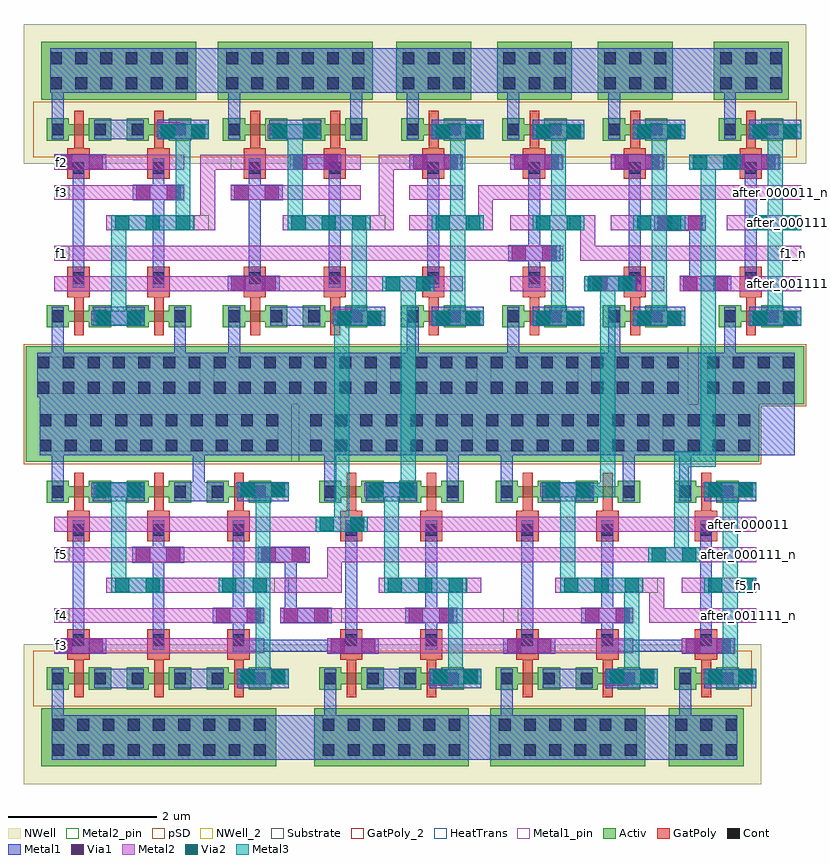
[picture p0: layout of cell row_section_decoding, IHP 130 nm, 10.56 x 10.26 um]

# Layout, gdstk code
from math import pi, radians
import gdstk
lib = gdstk.Library(unit=1e-6, precision=1e-09)
def R(c, l, rs):  # rectangles x0, y0, x1, y1
    for r in rs: c.add(gdstk.rectangle(r[:2], r[2:], *l))
def A(c, l, x, y, w, h, nx, ny, dx, dy):  # array of equal rectangles
    R(c, l, [(x+i*dx, y+j*dy, x+i*dx+w, y+j*dy+h) for i in range(nx) for j in range(ny)])
Activ = (1, 0)
GatPoly = (5, 0)
GatPoly_2 = (5, 2)
Cont = (6, 0)
Metal1 = (8, 0)
Metal1_pin = (8, 2)
Metal2 = (10, 0)
Metal2_pin = (10, 2)
pSD = (14, 0)
Via1 = (19, 0)
Via2 = (29, 0)
Metal3 = (30, 0)
NWell = (31, 0)
NWell_2 = (31, 2)
Substrate = (40, 0)
HeatTrans = (51, 0)

via_13 = lib.new_cell('Via$13')
R(via_13, Metal1, [(-0.35,-0.105,0.35,0.105)])
R(via_13, Metal2, [(-0.35,-0.1,0.35,0.1)])
R(via_13, Via1, [(-0.3,-0.095,-0.11,0.095), (0.11,-0.095,0.3,0.095)])

via_4_1 = lib.new_cell('Via$4$1')
R(via_4_1, Metal2, [(-0.1,-0.35,0.1,0.35)])
R(via_4_1, Via2, [(-0.095,-0.3,0.095,-0.11), (-0.095,0.11,0.095,0.3)])
R(via_4_1, Metal3, [(-0.1,-0.35,0.1,0.35)])

via_2_1 = lib.new_cell('Via$2$1')
R(via_2_1, Metal1, [(-0.105,-0.35,0.105,0.35)])
R(via_2_1, Metal2, [(-0.1,-0.35,0.1,0.35)])
R(via_2_1, Via1, [(-0.095,-0.3,0.095,-0.11), (-0.095,0.11,0.095,0.3)])

ntap1_1 = lib.new_cell('ntap1$1')
R(ntap1_1, Activ, [(0,0,2.09,0.78)])
A(ntap1_1, Cont, 0.115, 0.14, 0.16, 0.16, 6, 2, 0.34, 0.34)
R(ntap1_1, Metal1, [(0.115,0.09,1.975,0.69)])
R(ntap1_1, Metal1_pin, [(0.115,0.09,1.975,0.69), (0.115,0.14,1.975,0.64)])
R(ntap1_1, NWell, [(-0.24,-0.24,2.33,1.02), (0,0,2.09,0.78)])
R(ntap1_1, NWell_2, [(0,0,2.09,0.78)])
ntap1_1.add(gdstk.Label('well', (1.045,0.01), layer=63, texttype=0))
ntap1_1.add(gdstk.Label('well', (1.045,0.01), layer=31, texttype=0))

ptap1_1 = lib.new_cell('ptap1$1')
R(ptap1_1, Activ, [(0,0,2.51,0.78)])
A(ptap1_1, Cont, 0.155, 0.14, 0.16, 0.16, 7, 2, 0.34, 0.34)
R(ptap1_1, Metal1, [(0.155,0.09,2.355,0.69), (0.155,0.14,2.355,0.64)])
R(ptap1_1, Metal1_pin, [(0.155,0.14,2.355,0.64)])
R(ptap1_1, pSD, [(-0.03,-0.03,2.54,0.81)])
R(ptap1_1, Substrate, [(0,0,2.51,0.78)])
ptap1_1.add(gdstk.Label('sub!', (1.255,0.01), layer=63, texttype=0))
ptap1_1.add(gdstk.Label('sub!', (1.255,0.01), layer=40, texttype=0))

nmos_1 = lib.new_cell('nmos$1')
R(nmos_1, Activ, [(0,0,0.3,0.3), (0.57,0,0.87,0.3), (0,0.075,0.87,0.225)])
R(nmos_1, GatPoly, [(0.37,-0.105,0.5,0.405)])
R(nmos_1, GatPoly_2, [(0.37,-0.105,0.5,0.405)])
R(nmos_1, Cont, [(0.07,0.07,0.23,0.23), (0.64,0.07,0.8,0.23)])
R(nmos_1, Metal1, [(0.07,0.02,0.23,0.28), (0.64,0.02,0.8,0.28)])
R(nmos_1, Metal1_pin, [(0.07,0.02,0.23,0.28), (0.64,0.02,0.8,0.28)])
R(nmos_1, HeatTrans, [(0.37,-0.105,0.5,0.405)])
nmos_1.add(gdstk.Label('nmos', (0.435,0.15), layer=63, texttype=0))
nmos_1.add(gdstk.Label('nmos', (0.435,0.15), layer=51, texttype=0))

pmos_1 = lib.new_cell('pmos$1')
R(pmos_1, Activ, [(0,0,0.3,0.3), (0.57,0,0.87,0.3), (0,0.075,0.87,0.225)])
R(pmos_1, GatPoly, [(0.37,-0.105,0.5,0.405), (0.37,-0.105,0.5,0.405)])
R(pmos_1, Cont, [(0.07,0.07,0.23,0.23), (0.64,0.07,0.8,0.23)])
R(pmos_1, Metal1, [(0.07,0.02,0.23,0.28), (0.07,0.02,0.23,0.28), (0.64,0.02,0.8,0.28), (0.64,0.02,0.8,0.28)])
R(pmos_1, pSD, [(-0.18,-0.225,1.05,0.525)])
R(pmos_1, NWell, [(-0.31,-0.31,1.18,0.61)])
R(pmos_1, Substrate, [(0.57,0,0.87,0.3)])
R(pmos_1, HeatTrans, [(0.37,-0.105,0.5,0.405)])
pmos_1.add(gdstk.Label('pmos', (0.435,0.15), layer=63, texttype=0))
pmos_1.add(gdstk.Label('pmos', (0.435,0.15), layer=51, texttype=0))

via_8 = lib.new_cell('Via$8')
R(via_8, GatPoly, [(-0.15,-0.15,0.15,0.15)])
R(via_8, Cont, [(-0.08,-0.08,0.08,0.08)])
R(via_8, Metal1, [(-0.13,-0.08,0.13,0.08)])

via_7_1 = lib.new_cell('Via$7$1')
R(via_7_1, Metal2, [(-0.555,-0.1,0.555,0.1)])
A(via_7_1, Via2, -0.505, -0.095, 0.19, 0.19, 3, 1, 0.41, 0)
R(via_7_1, Metal3, [(-0.555,-0.1,0.555,0.1)])

via_6_1 = lib.new_cell('Via$6$1')
R(via_6_1, Metal1, [(-0.35,-0.105,0.35,0.105)])
R(via_6_1, Metal2, [(-0.35,-0.1,0.35,0.1)])
R(via_6_1, Via1, [(-0.3,-0.095,-0.11,0.095), (0.11,-0.095,0.3,0.095)])

nor_2in = lib.new_cell('NOR_2in')
R(nor_2in, GatPoly, [(9.375,7.165,9.675,7.275), (10.455,7.165,10.755,7.275), (9.375,9.065,9.675,9.175), (10.455,9.065,10.755,9.175)])
R(nor_2in, Metal1, [(9.72,6.78,10.42,7.04), (9.735,6.78,10.405,7.04), (9.735,9.3,10.405,9.56), (10.585,9.3,11.285,9.56)])
R(nor_2in, Metal1_pin, [(9.16,6.015,9.36,6.215), (9.325,10.12,9.525,10.32)])
R(nor_2in, Metal2_pin, [(11.085,8.07,11.285,8.27), (9.2,8.48,9.4,8.68), (9.2,8.89,9.4,9.09)])
nor_2in.add(gdstk.FlexPath([(10.895,6.91),(10.895,6.415)], 0.16, ends="flush", simple_path=True, layer=8, datatype=0))  # Metal1
nor_2in.add(gdstk.FlexPath([(9.245,9.56),(9.245,10.525)], 0.16, ends="flush", simple_path=True, layer=8, datatype=0))  # Metal1
nor_2in.add(gdstk.FlexPath([(9.245,6.78),(9.245,6.415)], 0.16, ends="flush", simple_path=True, layer=8, datatype=0))  # Metal1
nor_2in.add(gdstk.FlexPath([(9.525,7.555),(9.525,8.785)], 0.16, ends="flush", simple_path=True, layer=8, datatype=0))  # Metal1
nor_2in.add(gdstk.FlexPath([(10.605,7.555),(10.605,8.785)], 0.16, ends="flush", simple_path=True, layer=8, datatype=0))  # Metal1
nor_2in.add(gdstk.FlexPath([(9.9,8.17),(11.285,8.17)], 0.2, ends="flush", simple_path=True, layer=10, datatype=0))  # Metal2
nor_2in.add(gdstk.FlexPath([(9.865,6.885),(9.7,6.885)], 0.2, ends="flush", simple_path=True, layer=10, datatype=0))  # Metal2
nor_2in.add(gdstk.FlexPath([(10.895,9.43),(10.565,9.43)], 0.2, ends="flush", simple_path=True, layer=10, datatype=0))  # Metal2
nor_2in.add(gdstk.FlexPath([(10.43,8.58),(10.43,8.58)], 0.2, ends="flush", simple_path=True, layer=10, datatype=0))  # Metal2
nor_2in.add(gdstk.FlexPath([(9.2,8.99),(10.955,8.99)], 0.2, ends="flush", simple_path=True, layer=10, datatype=0))  # Metal2
nor_2in.add(gdstk.FlexPath([(9.2,8.58),(10.955,8.58)], 0.2, ends="flush", simple_path=True, layer=10, datatype=0))  # Metal2
nor_2in.add(gdstk.FlexPath([(9.2,7.76),(10.955,7.76)], 0.2, ends="flush", simple_path=True, layer=10, datatype=0))  # Metal2
nor_2in.add(gdstk.FlexPath([(9.2,7.35),(10.955,7.35)], 0.2, ends="flush", simple_path=True, layer=10, datatype=0))  # Metal2
nor_2in.add(gdstk.FlexPath([(10.935,9.405),(10.935,8.075)], 0.2, ends="flush", simple_path=True, layer=30, datatype=0))  # Metal3
nor_2in.add(gdstk.FlexPath([(10.07,8.17),(10.07,6.935)], 0.2, ends="flush", simple_path=True, layer=30, datatype=0))  # Metal3
nor_2in.add(gdstk.Reference(via_4_1, (10.935,9.405), rotation=3*pi/2))
nor_2in.add(gdstk.Reference(via_2_1, (10.935,9.405), rotation=3*pi/2))
nor_2in.add(gdstk.Reference(ntap1_1, (9.025,9.835)))
nor_2in.add(gdstk.Reference(ptap1_1, (8.815,5.725)))
nor_2in.add(gdstk.Reference(nmos_1, (10.175,6.76)))
nor_2in.add(gdstk.Reference(pmos_1, (10.175,9.28)))
nor_2in.add(gdstk.Reference(nmos_1, (9.095,6.76)))
nor_2in.add(gdstk.Reference(pmos_1, (9.095,9.28)))
nor_2in.add(gdstk.Reference(via_8, (9.525,8.915), rotation=pi/2))
nor_2in.add(gdstk.Reference(via_8, (10.605,8.915), rotation=pi/2))
nor_2in.add(gdstk.Reference(via_8, (10.605,7.425), rotation=3*pi/2))
nor_2in.add(gdstk.Reference(via_8, (9.525,7.425), rotation=3*pi/2))
nor_2in.add(gdstk.Reference(via_2_1, (10.605,8.58), rotation=3*pi/2))
nor_2in.add(gdstk.Reference(via_7_1, (10.525,8.17)))
nor_2in.add(gdstk.Reference(via_2_1, (10.07,6.885), rotation=3*pi/2))
nor_2in.add(gdstk.Reference(via_4_1, (10.07,6.885), rotation=3*pi/2))
nor_2in.add(gdstk.Reference(via_6_1, (9.55,8.99)))
nor_2in.add(gdstk.Label('y', (11.185,8.17), layer=10, texttype=25))
nor_2in.add(gdstk.Label('b', (9.315,8.575), layer=10, texttype=25))
nor_2in.add(gdstk.Label('a', (9.3,8.99), layer=10, texttype=25))
nor_2in.add(gdstk.Label('VP', (9.295,10.22), layer=8, texttype=25))
nor_2in.add(gdstk.Label('GND', (9.26,6.115), layer=8, texttype=25))

via_4_3 = lib.new_cell('Via$4$3')
R(via_4_3, Metal2, [(-0.1,-0.35,0.1,0.35)])
R(via_4_3, Via2, [(-0.095,-0.3,0.095,-0.11), (-0.095,0.11,0.095,0.3)])
R(via_4_3, Metal3, [(-0.1,-0.35,0.1,0.35)])

ntap1_3 = lib.new_cell('ntap1$3')
R(ntap1_3, Activ, [(0,0,1.01,0.78)])
A(ntap1_3, Cont, 0.085, 0.14, 0.16, 0.16, 3, 2, 0.34, 0.34)
R(ntap1_3, Metal1, [(0.085,0.09,0.925,0.69)])
R(ntap1_3, Metal1_pin, [(0.085,0.09,0.925,0.69), (0.085,0.14,0.925,0.64)])
R(ntap1_3, NWell, [(-0.24,-0.24,1.25,1.02), (0,0,1.01,0.78)])
R(ntap1_3, NWell_2, [(0,0,1.01,0.78)])
ntap1_3.add(gdstk.Label('well', (0.505,0.01), layer=63, texttype=0))
ntap1_3.add(gdstk.Label('well', (0.505,0.01), layer=31, texttype=0))

ptap1_3 = lib.new_cell('ptap1$3')
R(ptap1_3, Activ, [(0,0,1.43,0.78)])
A(ptap1_3, Cont, 0.125, 0.14, 0.16, 0.16, 4, 2, 0.34, 0.34)
R(ptap1_3, Metal1, [(0.125,0.09,1.305,0.69), (0.125,0.14,1.305,0.64)])
R(ptap1_3, Metal1_pin, [(0.125,0.14,1.305,0.64)])
R(ptap1_3, pSD, [(-0.03,-0.03,1.46,0.81)])
R(ptap1_3, Substrate, [(0,0,1.43,0.78)])
ptap1_3.add(gdstk.Label('sub!', (0.715,0.01), layer=63, texttype=0))
ptap1_3.add(gdstk.Label('sub!', (0.715,0.01), layer=40, texttype=0))

via_2_3 = lib.new_cell('Via$2$3')
R(via_2_3, Metal1, [(-0.105,-0.35,0.105,0.35)])
R(via_2_3, Metal2, [(-0.1,-0.35,0.1,0.35)])
R(via_2_3, Via1, [(-0.095,-0.3,0.095,-0.11), (-0.095,0.11,0.095,0.3)])

nmos_3 = lib.new_cell('nmos$3')
R(nmos_3, Activ, [(0,0,0.3,0.3), (0.57,0,0.87,0.3), (0,0.075,0.87,0.225)])
R(nmos_3, GatPoly, [(0.37,-0.105,0.5,0.405)])
R(nmos_3, GatPoly_2, [(0.37,-0.105,0.5,0.405)])
R(nmos_3, Cont, [(0.07,0.07,0.23,0.23), (0.64,0.07,0.8,0.23)])
R(nmos_3, Metal1, [(0.07,0.02,0.23,0.28), (0.64,0.02,0.8,0.28)])
R(nmos_3, Metal1_pin, [(0.07,0.02,0.23,0.28), (0.64,0.02,0.8,0.28)])
R(nmos_3, HeatTrans, [(0.37,-0.105,0.5,0.405)])
nmos_3.add(gdstk.Label('nmos', (0.435,0.15), layer=63, texttype=0))
nmos_3.add(gdstk.Label('nmos', (0.435,0.15), layer=51, texttype=0))

pmos_3 = lib.new_cell('pmos$3')
R(pmos_3, Activ, [(0,0,0.3,0.3), (0.57,0,0.87,0.3), (0,0.075,0.87,0.225)])
R(pmos_3, GatPoly, [(0.37,-0.105,0.5,0.405), (0.37,-0.105,0.5,0.405)])
R(pmos_3, Cont, [(0.07,0.07,0.23,0.23), (0.64,0.07,0.8,0.23)])
R(pmos_3, Metal1, [(0.07,0.02,0.23,0.28), (0.07,0.02,0.23,0.28), (0.64,0.02,0.8,0.28), (0.64,0.02,0.8,0.28)])
R(pmos_3, pSD, [(-0.18,-0.225,1.05,0.525)])
R(pmos_3, NWell, [(-0.31,-0.31,1.18,0.61)])
R(pmos_3, Substrate, [(0.57,0,0.87,0.3)])
R(pmos_3, HeatTrans, [(0.37,-0.105,0.5,0.405)])
pmos_3.add(gdstk.Label('pmos', (0.435,0.15), layer=63, texttype=0))
pmos_3.add(gdstk.Label('pmos', (0.435,0.15), layer=51, texttype=0))

via_10 = lib.new_cell('Via$10')
R(via_10, GatPoly, [(-0.15,-0.15,0.15,0.15)])
R(via_10, Cont, [(-0.08,-0.08,0.08,0.08)])
R(via_10, Metal1, [(-0.13,-0.08,0.13,0.08)])

via_7_2 = lib.new_cell('Via$7$2')
R(via_7_2, Metal2, [(-0.35,-0.1,0.35,0.1)])
R(via_7_2, Via2, [(-0.3,-0.095,-0.11,0.095), (0.11,-0.095,0.3,0.095)])
R(via_7_2, Metal3, [(-0.35,-0.1,0.35,0.1)])

inverter = lib.new_cell('inverter')
R(inverter, GatPoly, [(9.375,7.165,9.675,7.275), (9.375,9.065,9.675,9.175)])
R(inverter, Metal1, [(9.505,6.78,10.205,7.04), (9.505,9.3,10.205,9.56)])
R(inverter, Metal1_pin, [(9.16,6.015,9.36,6.215), (9.325,10.12,9.525,10.32)])
R(inverter, Metal2_pin, [(10.005,8.07,10.205,8.27), (9.2,8.89,9.4,9.09)])
inverter.add(gdstk.FlexPath([(9.245,9.56),(9.245,10.525)], 0.16, ends="flush", simple_path=True, layer=8, datatype=0))  # Metal1
inverter.add(gdstk.FlexPath([(9.245,6.78),(9.245,6.415)], 0.16, ends="flush", simple_path=True, layer=8, datatype=0))  # Metal1
inverter.add(gdstk.FlexPath([(9.525,7.555),(9.525,8.785)], 0.16, ends="flush", simple_path=True, layer=8, datatype=0))  # Metal1
inverter.add(gdstk.FlexPath([(9.65,9.405),(9.485,9.405)], 0.2, ends="flush", simple_path=True, layer=10, datatype=0))  # Metal2
inverter.add(gdstk.FlexPath([(9.65,6.885),(9.485,6.885)], 0.2, ends="flush", simple_path=True, layer=10, datatype=0))  # Metal2
inverter.add(gdstk.FlexPath([(9.2,8.99),(9.92,8.99)], 0.2, ends="flush", simple_path=True, layer=10, datatype=0))  # Metal2
inverter.add(gdstk.FlexPath([(9.2,8.58),(9.92,8.58)], 0.2, ends="flush", simple_path=True, layer=10, datatype=0))  # Metal2
inverter.add(gdstk.FlexPath([(9.2,7.76),(9.92,7.76)], 0.2, ends="flush", simple_path=True, layer=10, datatype=0))  # Metal2
inverter.add(gdstk.FlexPath([(9.2,7.35),(9.92,7.35)], 0.2, ends="flush", simple_path=True, layer=10, datatype=0))  # Metal2
inverter.add(gdstk.FlexPath([(9.2,8.17),(10.205,8.17)], 0.2, ends="flush", simple_path=True, layer=10, datatype=0))  # Metal2
inverter.add(gdstk.FlexPath([(9.855,6.885),(9.855,8.17)], 0.2, ends="flush", simple_path=True, layer=30, datatype=0))  # Metal3
inverter.add(gdstk.FlexPath([(9.855,9.405),(9.855,8.17)], 0.2, ends="flush", simple_path=True, layer=30, datatype=0))  # Metal3
inverter.add(gdstk.Reference(via_4_3, (9.855,6.885), rotation=3*pi/2))
inverter.add(gdstk.Reference(ntap1_3, (9.025,9.835)))
inverter.add(gdstk.Reference(ptap1_3, (8.815,5.725)))
inverter.add(gdstk.Reference(via_2_3, (9.855,6.885), rotation=3*pi/2))
inverter.add(gdstk.Reference(nmos_3, (9.095,6.76)))
inverter.add(gdstk.Reference(pmos_3, (9.095,9.28)))
inverter.add(gdstk.Reference(via_10, (9.525,8.915), rotation=pi/2))
inverter.add(gdstk.Reference(via_10, (9.525,7.425), rotation=3*pi/2))
inverter.add(gdstk.Reference(via_4_3, (9.855,9.405), rotation=3*pi/2))
inverter.add(gdstk.Reference(via_2_3, (9.555,8.99), rotation=3*pi/2))
inverter.add(gdstk.Reference(via_2_3, (9.855,9.405), rotation=3*pi/2))
inverter.add(gdstk.Reference(via_7_2, (9.855,8.17)))
inverter.add(gdstk.Label('out', (10.105,8.17), layer=10, texttype=25))
inverter.add(gdstk.Label('in', (9.3,8.99), layer=10, texttype=25))
inverter.add(gdstk.Label('VP', (9.295,10.22), layer=8, texttype=25))
inverter.add(gdstk.Label('GND', (9.26,6.115), layer=8, texttype=25))

via_11 = lib.new_cell('Via$11')
R(via_11, Metal2, [(-0.35,-0.1,0.35,0.1)])
R(via_11, Via2, [(-0.3,-0.095,-0.11,0.095), (0.11,-0.095,0.3,0.095)])
R(via_11, Metal3, [(-0.35,-0.1,0.35,0.1)])

via_14 = lib.new_cell('Via$14')
R(via_14, Metal1, [(-0.35,-0.105,0.35,0.105)])
R(via_14, Metal2, [(-0.35,-0.1,0.35,0.1)])
R(via_14, Via1, [(-0.3,-0.095,-0.11,0.095), (0.11,-0.095,0.3,0.095)])

via_4 = lib.new_cell('Via$4')
R(via_4, Metal2, [(-0.1,-0.35,0.1,0.35)])
R(via_4, Via2, [(-0.095,-0.3,0.095,-0.11), (-0.095,0.11,0.095,0.3)])
R(via_4, Metal3, [(-0.1,-0.35,0.1,0.35)])

via_2 = lib.new_cell('Via$2')
R(via_2, Metal1, [(-0.105,-0.35,0.105,0.35)])
R(via_2, Metal2, [(-0.1,-0.35,0.1,0.35)])
R(via_2, Via1, [(-0.095,-0.3,0.095,-0.11), (-0.095,0.11,0.095,0.3)])

ntap1 = lib.new_cell('ntap1')
R(ntap1, Activ, [(0,0,2.09,0.78)])
A(ntap1, Cont, 0.115, 0.14, 0.16, 0.16, 6, 2, 0.34, 0.34)
R(ntap1, Metal1, [(0.115,0.09,1.975,0.69)])
R(ntap1, Metal1_pin, [(0.115,0.09,1.975,0.69), (0.115,0.14,1.975,0.64)])
R(ntap1, NWell, [(-0.24,-0.24,2.33,1.02), (0,0,2.09,0.78)])
R(ntap1, NWell_2, [(0,0,2.09,0.78)])
ntap1.add(gdstk.Label('well', (1.045,0.01), layer=63, texttype=0))
ntap1.add(gdstk.Label('well', (1.045,0.01), layer=31, texttype=0))

ptap1 = lib.new_cell('ptap1')
R(ptap1, Activ, [(0,0,2.51,0.78)])
A(ptap1, Cont, 0.155, 0.14, 0.16, 0.16, 7, 2, 0.34, 0.34)
R(ptap1, Metal1, [(0.155,0.09,2.355,0.69), (0.155,0.14,2.355,0.64)])
R(ptap1, Metal1_pin, [(0.155,0.14,2.355,0.64)])
R(ptap1, pSD, [(-0.03,-0.03,2.54,0.81)])
R(ptap1, Substrate, [(0,0,2.51,0.78)])
ptap1.add(gdstk.Label('sub!', (1.255,0.01), layer=63, texttype=0))
ptap1.add(gdstk.Label('sub!', (1.255,0.01), layer=40, texttype=0))

nmos = lib.new_cell('nmos')
R(nmos, Activ, [(0,0,0.3,0.3), (0.57,0,0.87,0.3), (0,0.075,0.87,0.225)])
R(nmos, GatPoly, [(0.37,-0.105,0.5,0.405)])
R(nmos, GatPoly_2, [(0.37,-0.105,0.5,0.405)])
R(nmos, Cont, [(0.07,0.07,0.23,0.23), (0.64,0.07,0.8,0.23)])
R(nmos, Metal1, [(0.07,0.02,0.23,0.28), (0.64,0.02,0.8,0.28)])
R(nmos, Metal1_pin, [(0.07,0.02,0.23,0.28), (0.64,0.02,0.8,0.28)])
R(nmos, HeatTrans, [(0.37,-0.105,0.5,0.405)])
nmos.add(gdstk.Label('nmos', (0.435,0.15), layer=63, texttype=0))
nmos.add(gdstk.Label('nmos', (0.435,0.15), layer=51, texttype=0))

pmos = lib.new_cell('pmos')
R(pmos, Activ, [(0,0,0.3,0.3), (0.57,0,0.87,0.3), (0,0.075,0.87,0.225)])
R(pmos, GatPoly, [(0.37,-0.105,0.5,0.405), (0.37,-0.105,0.5,0.405)])
R(pmos, Cont, [(0.07,0.07,0.23,0.23), (0.64,0.07,0.8,0.23)])
R(pmos, Metal1, [(0.07,0.02,0.23,0.28), (0.07,0.02,0.23,0.28), (0.64,0.02,0.8,0.28), (0.64,0.02,0.8,0.28)])
R(pmos, pSD, [(-0.18,-0.225,1.05,0.525)])
R(pmos, NWell, [(-0.31,-0.31,1.18,0.61)])
R(pmos, Substrate, [(0.57,0,0.87,0.3)])
R(pmos, HeatTrans, [(0.37,-0.105,0.5,0.405)])
pmos.add(gdstk.Label('pmos', (0.435,0.15), layer=63, texttype=0))
pmos.add(gdstk.Label('pmos', (0.435,0.15), layer=51, texttype=0))

via = lib.new_cell('Via')
R(via, GatPoly, [(-0.15,-0.15,0.15,0.15)])
R(via, Cont, [(-0.08,-0.08,0.08,0.08)])
R(via, Metal1, [(-0.13,-0.08,0.13,0.08)])

via_7 = lib.new_cell('Via$7')
R(via_7, Metal2, [(-0.555,-0.1,0.555,0.1)])
A(via_7, Via2, -0.505, -0.095, 0.19, 0.19, 3, 1, 0.41, 0)
R(via_7, Metal3, [(-0.555,-0.1,0.555,0.1)])

via_6 = lib.new_cell('Via$6')
R(via_6, Metal1, [(-0.35,-0.105,0.35,0.105)])
R(via_6, Metal2, [(-0.35,-0.1,0.35,0.1)])
R(via_6, Via1, [(-0.3,-0.095,-0.11,0.095), (0.11,-0.095,0.3,0.095)])

nand_2in = lib.new_cell('NAND_2in')
R(nand_2in, GatPoly, [(9.375,7.165,9.675,7.275), (10.455,7.165,10.755,7.275), (9.375,9.065,9.675,9.175), (10.455,9.065,10.755,9.175)])
R(nand_2in, Metal1, [(9.735,6.78,10.405,7.04), (10.585,6.78,11.285,7.04), (9.72,9.3,10.42,9.56)])
R(nand_2in, Metal1_pin, [(9.16,6.015,9.36,6.215), (9.325,10.12,9.525,10.32)])
R(nand_2in, Metal2_pin, [(11.085,8.07,11.285,8.27), (9.2,8.48,9.4,8.68), (9.2,8.89,9.4,9.09)])
nand_2in.add(gdstk.FlexPath([(9.245,9.56),(9.245,10.525)], 0.16, ends="flush", simple_path=True, layer=8, datatype=0))  # Metal1
nand_2in.add(gdstk.FlexPath([(10.895,9.56),(10.895,10.525)], 0.16, ends="flush", simple_path=True, layer=8, datatype=0))  # Metal1
nand_2in.add(gdstk.FlexPath([(9.245,6.78),(9.245,6.415)], 0.16, ends="flush", simple_path=True, layer=8, datatype=0))  # Metal1
nand_2in.add(gdstk.FlexPath([(9.525,7.555),(9.525,8.785)], 0.16, ends="flush", simple_path=True, layer=8, datatype=0))  # Metal1
nand_2in.add(gdstk.FlexPath([(10.605,7.555),(10.605,8.785)], 0.16, ends="flush", simple_path=True, layer=8, datatype=0))  # Metal1
nand_2in.add(gdstk.FlexPath([(9.9,8.17),(11.285,8.17)], 0.2, ends="flush", simple_path=True, layer=10, datatype=0))  # Metal2
nand_2in.add(gdstk.FlexPath([(10.895,6.91),(10.565,6.91)], 0.2, ends="flush", simple_path=True, layer=10, datatype=0))  # Metal2
nand_2in.add(gdstk.FlexPath([(9.865,9.405),(9.7,9.405)], 0.2, ends="flush", simple_path=True, layer=10, datatype=0))  # Metal2
nand_2in.add(gdstk.FlexPath([(10.43,8.58),(10.43,8.58)], 0.2, ends="flush", simple_path=True, layer=10, datatype=0))  # Metal2
nand_2in.add(gdstk.FlexPath([(9.2,8.99),(10.955,8.99)], 0.2, ends="flush", simple_path=True, layer=10, datatype=0))  # Metal2
nand_2in.add(gdstk.FlexPath([(9.2,8.58),(10.955,8.58)], 0.2, ends="flush", simple_path=True, layer=10, datatype=0))  # Metal2
nand_2in.add(gdstk.FlexPath([(9.2,7.76),(10.955,7.76)], 0.2, ends="flush", simple_path=True, layer=10, datatype=0))  # Metal2
nand_2in.add(gdstk.FlexPath([(9.2,7.35),(10.955,7.35)], 0.2, ends="flush", simple_path=True, layer=10, datatype=0))  # Metal2
nand_2in.add(gdstk.FlexPath([(10.07,9.305),(10.07,8.07)], 0.2, ends="flush", simple_path=True, layer=30, datatype=0))  # Metal3
nand_2in.add(gdstk.FlexPath([(10.935,6.885),(10.935,8.07)], 0.2, ends="flush", simple_path=True, layer=30, datatype=0))  # Metal3
nand_2in.add(gdstk.Reference(via_4, (10.935,6.885), rotation=3*pi/2))
nand_2in.add(gdstk.Reference(via_2, (10.935,6.885), rotation=3*pi/2))
nand_2in.add(gdstk.Reference(ntap1, (9.025,9.835)))
nand_2in.add(gdstk.Reference(ptap1, (8.815,5.725)))
nand_2in.add(gdstk.Reference(nmos, (10.175,6.76)))
nand_2in.add(gdstk.Reference(pmos, (10.175,9.28)))
nand_2in.add(gdstk.Reference(nmos, (9.095,6.76)))
nand_2in.add(gdstk.Reference(pmos, (9.095,9.28)))
nand_2in.add(gdstk.Reference(via, (9.525,8.915), rotation=pi/2))
nand_2in.add(gdstk.Reference(via, (10.605,8.915), rotation=pi/2))
nand_2in.add(gdstk.Reference(via, (10.605,7.425), rotation=3*pi/2))
nand_2in.add(gdstk.Reference(via, (9.525,7.425), rotation=3*pi/2))
nand_2in.add(gdstk.Reference(via_2, (9.55,8.58), rotation=3*pi/2))
nand_2in.add(gdstk.Reference(via_7, (10.525,8.17)))
nand_2in.add(gdstk.Reference(via_2, (10.07,9.405), rotation=3*pi/2))
nand_2in.add(gdstk.Reference(via_4, (10.07,9.405), rotation=3*pi/2))
nand_2in.add(gdstk.Reference(via_6, (10.345,8.99)))
nand_2in.add(gdstk.Label('y', (11.185,8.17), layer=10, texttype=25))
nand_2in.add(gdstk.Label('b', (9.315,8.575), layer=10, texttype=25))
nand_2in.add(gdstk.Label('a', (9.3,8.99), layer=10, texttype=25))
nand_2in.add(gdstk.Label('VP', (9.295,10.22), layer=8, texttype=25))
nand_2in.add(gdstk.Label('GND', (9.26,6.115), layer=8, texttype=25))

via_15 = lib.new_cell('Via$15')
R(via_15, Metal2, [(-0.35,-0.1,0.35,0.1)])
R(via_15, Via2, [(-0.3,-0.095,-0.11,0.095), (0.11,-0.095,0.3,0.095)])
R(via_15, Metal3, [(-0.35,-0.1,0.35,0.1)])

via_12 = lib.new_cell('Via$12')
R(via_12, Metal1, [(-0.35,-0.105,0.35,0.105)])
R(via_12, Metal2, [(-0.35,-0.1,0.35,0.1)])
R(via_12, Via1, [(-0.3,-0.095,-0.11,0.095), (0.11,-0.095,0.3,0.095)])

via_17 = lib.new_cell('Via$17')
R(via_17, Metal2, [(-0.35,-0.1,0.35,0.1)])
R(via_17, Via2, [(-0.3,-0.095,-0.11,0.095), (0.11,-0.095,0.3,0.095)])
R(via_17, Metal3, [(-0.35,-0.1,0.35,0.1)])

ntap1_2 = lib.new_cell('ntap1$2')
R(ntap1_2, Activ, [(0,0,3.17,0.78)])
A(ntap1_2, Cont, 0.145, 0.14, 0.16, 0.16, 9, 2, 0.34, 0.34)
R(ntap1_2, Metal1, [(0.145,0.09,3.025,0.69)])
R(ntap1_2, Metal1_pin, [(0.145,0.09,3.025,0.69), (0.145,0.14,3.025,0.64)])
R(ntap1_2, NWell, [(-0.24,-0.24,3.41,1.02), (0,0,3.17,0.78)])
R(ntap1_2, NWell_2, [(0,0,3.17,0.78)])
ntap1_2.add(gdstk.Label('well', (1.585,0.01), layer=63, texttype=0))
ntap1_2.add(gdstk.Label('well', (1.585,0.01), layer=31, texttype=0))

ptap1_2 = lib.new_cell('ptap1$2')
R(ptap1_2, Activ, [(0,0,3.59,0.78)])
A(ptap1_2, Cont, 0.185, 0.14, 0.16, 0.16, 10, 2, 0.34, 0.34)
R(ptap1_2, Metal1, [(0.185,0.09,3.405,0.69), (0.185,0.14,3.405,0.64)])
R(ptap1_2, Metal1_pin, [(0.185,0.14,3.405,0.64)])
R(ptap1_2, pSD, [(-0.03,-0.03,3.62,0.81)])
R(ptap1_2, Substrate, [(0,0,3.59,0.78)])
ptap1_2.add(gdstk.Label('sub!', (1.795,0.01), layer=63, texttype=0))
ptap1_2.add(gdstk.Label('sub!', (1.795,0.01), layer=40, texttype=0))

nmos_2 = lib.new_cell('nmos$2')
R(nmos_2, Activ, [(0,0,0.3,0.3), (0.57,0,0.87,0.3), (0,0.075,0.87,0.225)])
R(nmos_2, GatPoly, [(0.37,-0.105,0.5,0.405)])
R(nmos_2, GatPoly_2, [(0.37,-0.105,0.5,0.405)])
R(nmos_2, Cont, [(0.07,0.07,0.23,0.23), (0.64,0.07,0.8,0.23)])
R(nmos_2, Metal1, [(0.07,0.02,0.23,0.28), (0.64,0.02,0.8,0.28)])
R(nmos_2, Metal1_pin, [(0.07,0.02,0.23,0.28), (0.64,0.02,0.8,0.28)])
R(nmos_2, HeatTrans, [(0.37,-0.105,0.5,0.405)])
nmos_2.add(gdstk.Label('nmos', (0.435,0.15), layer=63, texttype=0))
nmos_2.add(gdstk.Label('nmos', (0.435,0.15), layer=51, texttype=0))

pmos_2 = lib.new_cell('pmos$2')
R(pmos_2, Activ, [(0,0,0.3,0.3), (0.57,0,0.87,0.3), (0,0.075,0.87,0.225)])
R(pmos_2, GatPoly, [(0.37,-0.105,0.5,0.405), (0.37,-0.105,0.5,0.405)])
R(pmos_2, Cont, [(0.07,0.07,0.23,0.23), (0.64,0.07,0.8,0.23)])
R(pmos_2, Metal1, [(0.07,0.02,0.23,0.28), (0.07,0.02,0.23,0.28), (0.64,0.02,0.8,0.28), (0.64,0.02,0.8,0.28)])
R(pmos_2, pSD, [(-0.18,-0.225,1.05,0.525)])
R(pmos_2, NWell, [(-0.31,-0.31,1.18,0.61)])
R(pmos_2, Substrate, [(0.57,0,0.87,0.3)])
R(pmos_2, HeatTrans, [(0.37,-0.105,0.5,0.405)])
pmos_2.add(gdstk.Label('pmos', (0.435,0.15), layer=63, texttype=0))
pmos_2.add(gdstk.Label('pmos', (0.435,0.15), layer=51, texttype=0))

via_9 = lib.new_cell('Via$9')
R(via_9, GatPoly, [(-0.15,-0.15,0.15,0.15)])
R(via_9, Cont, [(-0.08,-0.08,0.08,0.08)])
R(via_9, Metal1, [(-0.13,-0.08,0.13,0.08)])

via_2_2 = lib.new_cell('Via$2$2')
R(via_2_2, Metal1, [(-0.105,-0.35,0.105,0.35)])
R(via_2_2, Metal2, [(-0.1,-0.35,0.1,0.35)])
R(via_2_2, Via1, [(-0.095,-0.3,0.095,-0.11), (-0.095,0.11,0.095,0.3)])

via_8_1 = lib.new_cell('Via$8$1')
R(via_8_1, Metal2, [(-0.35,-0.1,0.35,0.1)])
R(via_8_1, Via2, [(-0.3,-0.095,-0.11,0.095), (0.11,-0.095,0.3,0.095)])
R(via_8_1, Metal3, [(-0.35,-0.1,0.35,0.1)])

via_4_2 = lib.new_cell('Via$4$2')
R(via_4_2, Metal2, [(-0.1,-0.35,0.1,0.35)])
R(via_4_2, Via2, [(-0.095,-0.3,0.095,-0.11), (-0.095,0.11,0.095,0.3)])
R(via_4_2, Metal3, [(-0.1,-0.35,0.1,0.35)])

via_6_2 = lib.new_cell('Via$6$2')
R(via_6_2, Metal1, [(-0.35,-0.105,0.35,0.105)])
R(via_6_2, Metal2, [(-0.35,-0.1,0.35,0.1)])
R(via_6_2, Via1, [(-0.3,-0.095,-0.11,0.095), (0.11,-0.095,0.3,0.095)])

nor_3in = lib.new_cell('NOR_3in')
A(nor_3in, GatPoly, 9.375, 7.165, 0.3, 0.11, 3, 2, 1.08, 1.9)
R(nor_3in, Metal1, [(9.72,6.78,10.42,7.04), (9.735,6.78,10.405,7.04), (10.815,6.78,11.485,7.04), (11.665,6.78,12.365,7.04), (9.735,9.3,10.405,9.56), (10.815,9.3,11.485,9.56), (11.665,9.3,12.365,9.56)])
R(nor_3in, Metal1_pin, [(9.16,6.015,9.36,6.215), (9.325,10.12,9.525,10.32)])
R(nor_3in, Metal2_pin, [(9.2,7.66,9.4,7.86), (12.165,8.07,12.365,8.27), (9.2,8.48,9.4,8.68), (9.2,8.89,9.4,9.09)])
nor_3in.add(gdstk.FlexPath([(11.15,6.78),(11.15,6.415)], 0.16, ends="flush", simple_path=True, layer=8, datatype=0))  # Metal1
nor_3in.add(gdstk.FlexPath([(11.685,7.555),(11.685,8.785)], 0.16, ends="flush", simple_path=True, layer=8, datatype=0))  # Metal1
nor_3in.add(gdstk.FlexPath([(9.245,9.56),(9.245,10.525)], 0.16, ends="flush", simple_path=True, layer=8, datatype=0))  # Metal1
nor_3in.add(gdstk.FlexPath([(9.245,6.78),(9.245,6.415)], 0.16, ends="flush", simple_path=True, layer=8, datatype=0))  # Metal1
nor_3in.add(gdstk.FlexPath([(9.525,7.555),(9.525,8.785)], 0.16, ends="flush", simple_path=True, layer=8, datatype=0))  # Metal1
nor_3in.add(gdstk.FlexPath([(10.605,7.555),(10.605,8.785)], 0.16, ends="flush", simple_path=True, layer=8, datatype=0))  # Metal1
nor_3in.add(gdstk.FlexPath([(9.9,8.17),(12.365,8.17)], 0.2, ends="flush", simple_path=True, layer=10, datatype=0))  # Metal2
nor_3in.add(gdstk.FlexPath([(9.865,6.885),(9.7,6.885)], 0.2, ends="flush", simple_path=True, layer=10, datatype=0))  # Metal2
nor_3in.add(gdstk.FlexPath([(11.505,8.58),(11.505,8.58)], 0.2, ends="flush", simple_path=True, layer=10, datatype=0))  # Metal2
nor_3in.add(gdstk.FlexPath([(11.81,9.405),(11.645,9.405)], 0.2, ends="flush", simple_path=True, layer=10, datatype=0))  # Metal2
nor_3in.add(gdstk.FlexPath([(11.81,6.885),(11.645,6.885)], 0.2, ends="flush", simple_path=True, layer=10, datatype=0))  # Metal2
nor_3in.add(gdstk.FlexPath([(9.2,7.76),(12.035,7.76)], 0.2, ends="flush", simple_path=True, layer=10, datatype=0))  # Metal2
nor_3in.add(gdstk.FlexPath([(9.2,7.35),(12.035,7.35)], 0.2, ends="flush", simple_path=True, layer=10, datatype=0))  # Metal2
nor_3in.add(gdstk.FlexPath([(9.2,8.99),(12.035,8.99)], 0.2, ends="flush", simple_path=True, layer=10, datatype=0))  # Metal2
nor_3in.add(gdstk.FlexPath([(9.2,8.58),(12.035,8.58)], 0.2, ends="flush", simple_path=True, layer=10, datatype=0))  # Metal2
nor_3in.add(gdstk.FlexPath([(10.07,8.19),(10.07,6.955)], 0.2, ends="flush", simple_path=True, layer=30, datatype=0))  # Metal3
nor_3in.add(gdstk.FlexPath([(12.015,6.885),(12.015,8.17)], 0.2, ends="flush", simple_path=True, layer=30, datatype=0))  # Metal3
nor_3in.add(gdstk.FlexPath([(12.015,9.405),(12.015,8.17)], 0.2, ends="flush", simple_path=True, layer=30, datatype=0))  # Metal3
nor_3in.add(gdstk.Reference(ntap1_2, (9.025,9.835)))
nor_3in.add(gdstk.Reference(ptap1_2, (8.815,5.725)))
nor_3in.add(gdstk.Reference(nmos_2, (10.175,6.76)))
nor_3in.add(gdstk.Reference(pmos_2, (10.175,9.28)))
nor_3in.add(gdstk.Reference(nmos_2, (9.095,6.76)))
nor_3in.add(gdstk.Reference(pmos_2, (9.095,9.28)))
nor_3in.add(gdstk.Reference(via_9, (9.525,8.915), rotation=pi/2))
nor_3in.add(gdstk.Reference(via_9, (10.605,8.915), rotation=pi/2))
nor_3in.add(gdstk.Reference(via_9, (10.605,7.425), rotation=3*pi/2))
nor_3in.add(gdstk.Reference(via_9, (9.525,7.425), rotation=3*pi/2))
nor_3in.add(gdstk.Reference(via_2_2, (11.685,8.58), rotation=3*pi/2))
nor_3in.add(gdstk.Reference(via_8_1, (10.32,8.17)))
nor_3in.add(gdstk.Reference(via_2_2, (10.07,6.885), rotation=3*pi/2))
nor_3in.add(gdstk.Reference(via_4_2, (10.07,6.885), rotation=3*pi/2))
nor_3in.add(gdstk.Reference(via_6_2, (9.55,8.99)))
nor_3in.add(gdstk.Reference(pmos_2, (11.255,9.28)))
nor_3in.add(gdstk.Reference(nmos_2, (11.255,6.76)))
nor_3in.add(gdstk.Reference(via_9, (11.685,8.915), rotation=pi/2))
nor_3in.add(gdstk.Reference(via_9, (11.685,7.425), rotation=3*pi/2))
nor_3in.add(gdstk.Reference(via_2_2, (10.6,7.76), rotation=3*pi/2))
nor_3in.add(gdstk.Reference(via_2_2, (12.015,9.405), rotation=3*pi/2))
nor_3in.add(gdstk.Reference(via_4_2, (12.015,9.405), rotation=3*pi/2))
nor_3in.add(gdstk.Reference(via_2_2, (12.015,6.885), rotation=3*pi/2))
nor_3in.add(gdstk.Reference(via_4_2, (12.015,6.885), rotation=3*pi/2))
nor_3in.add(gdstk.Reference(via_8_1, (11.765,8.17)))
nor_3in.add(gdstk.Label('c', (9.315,7.755), layer=10, texttype=25))
nor_3in.add(gdstk.Label('y', (12.265,8.17), layer=10, texttype=25))
nor_3in.add(gdstk.Label('b', (9.315,8.575), layer=10, texttype=25))
nor_3in.add(gdstk.Label('a', (9.3,8.99), layer=10, texttype=25))
nor_3in.add(gdstk.Label('VP', (9.295,10.22), layer=8, texttype=25))
nor_3in.add(gdstk.Label('GND', (9.26,6.115), layer=8, texttype=25))

row_section_decoding = lib.new_cell('row_section_decoding')
R(row_section_decoding, Activ, [(10.555,15.545,10.82,16.325), (15.845,16.325,16.18,17.105)])
R(row_section_decoding, Metal1, [(7.4,11.525,16.65,12.125), (7.23,15.635,17.425,17.015), (7.37,20.525,17.255,21.125)])
A(row_section_decoding, Metal2_pin, 16.705, 13.37, 0.2, 0.2, 1, 4, 0, 0.41)
A(row_section_decoding, Metal2_pin, 17.31, 17.85, 0.2, 0.2, 1, 4, 0, 0.41)
R(row_section_decoding, Metal2_pin, [(7.43,12.96,7.63,13.16), (7.43,13.37,7.63,13.57), (7.43,14.19,7.63,14.39), (7.43,18.26,7.63,18.46), (7.43,19.08,7.63,19.28), (7.43,19.49,7.63,19.69)])
R(row_section_decoding, pSD, [(7.145,12.245,16.845,12.995), (10.47,15.515,10.885,16.355), (15.89,16.295,16.2,17.135), (7.145,19.655,17.245,20.405)])
R(row_section_decoding, NWell, [(10.415,11.195,10.885,13.08), (15.88,19.57,16.285,21.455)])
row_section_decoding.add(gdstk.FlexPath([(11,13.06),(9.835,13.06)], 0.16, ends="flush", simple_path=True, layer=8, datatype=0))  # Metal1
row_section_decoding.add(gdstk.FlexPath([(10.62,13.47),(10.62,14.39)], 0.16, ends="flush", simple_path=True, layer=8, datatype=0))  # Metal1
row_section_decoding.add(gdstk.FlexPath([(11,13.06),(11.25,13.06)], 0.16, ends="flush", simple_path=True, layer=8, datatype=0))  # Metal1
row_section_decoding.add(gdstk.FlexPath([(15.905,13.06),(14.815,13.06)], 0.16, ends="flush", simple_path=True, layer=8, datatype=0))  # Metal1
row_section_decoding.add(gdstk.FlexPath([(16.08,18.765),(16.08,17.845)], 0.16, ends="flush", simple_path=True, layer=8, datatype=0))  # Metal1
row_section_decoding.add(gdstk.FlexPath([(9.185,18.36),(9.81,18.36)], 0.2, ends="flush", simple_path=True, layer=10, datatype=0))  # Metal2
row_section_decoding.add(gdstk.FlexPath([(9.185,17.95),(9.81,17.95)], 0.2, ends="flush", simple_path=True, layer=10, datatype=0))  # Metal2
row_section_decoding.add(gdstk.FlexPath([(10.475,14.29),(10.475,14.29)], 0.2, ends="flush", simple_path=True, layer=10, datatype=0))  # Metal2
row_section_decoding.add(gdstk.FlexPath([(10.765,13.47),(10.765,13.47)], 0.2, ends="flush", simple_path=True, layer=10, datatype=0))  # Metal2
row_section_decoding.add(gdstk.FlexPath([(12.865,13.47),(13.49,13.47)], 0.2, ends="flush", simple_path=True, layer=10, datatype=0))  # Metal2
row_section_decoding.add(gdstk.FlexPath([(12.865,13.06),(13.49,13.06)], 0.2, ends="flush", simple_path=True, layer=10, datatype=0))  # Metal2
row_section_decoding.add(gdstk.FlexPath([(10.595,13.88),(11.21,13.88),(11.21,14.39)], 0.2, ends="flush", simple_path=True, layer=10, datatype=0))  # Metal2
row_section_decoding.add(gdstk.FlexPath([(12.865,14.29),(13.49,14.29)], 0.2, ends="flush", simple_path=True, layer=10, datatype=0))  # Metal2
row_section_decoding.add(gdstk.FlexPath([(15.245,14.29),(15.9,14.29)], 0.2, ends="flush", simple_path=True, layer=10, datatype=0))  # Metal2
row_section_decoding.add(gdstk.FlexPath([(12.505,17.95),(11.21,17.95)], 0.2, ends="flush", simple_path=True, layer=10, datatype=0))  # Metal2
row_section_decoding.add(gdstk.FlexPath([(11.71,18.77),(11.91,18.77),(11.91,19.59),(12.32,19.59)], 0.2, ends="flush", simple_path=True, layer=10, datatype=0))  # Metal2
row_section_decoding.add(gdstk.FlexPath([(9.33,18.77),(9.5,18.77),(9.5,19.59),(9.91,19.59)], 0.2, ends="flush", simple_path=True, layer=10, datatype=0))  # Metal2
row_section_decoding.add(gdstk.FlexPath([(11.565,18.36),(12.22,18.36)], 0.2, ends="flush", simple_path=True, layer=10, datatype=0))  # Metal2
row_section_decoding.add(gdstk.FlexPath([(16.62,13.47),(16.705,13.47)], 0.2, ends="flush", simple_path=True, layer=10, datatype=0))  # Metal2
row_section_decoding.add(gdstk.FlexPath([(16.62,14.29),(16.705,14.29)], 0.2, ends="flush", simple_path=True, layer=10, datatype=0))  # Metal2
row_section_decoding.add(gdstk.FlexPath([(15.56,13.88),(15.56,13.47),(15.99,13.47)], 0.2, ends="flush", simple_path=True, layer=10, datatype=0))  # Metal2
row_section_decoding.add(gdstk.FlexPath([(15.56,13.88),(15.56,13.98)], 0.2, ends="flush", simple_path=True, layer=10, datatype=0))  # Metal2
row_section_decoding.add(gdstk.FlexPath([(13.585,19.18),(13.25,19.18),(13.25,18.67)], 0.2, ends="flush", simple_path=True, layer=10, datatype=0))  # Metal2
row_section_decoding.add(gdstk.FlexPath([(17.195,17.95),(17.51,17.95)], 0.2, ends="flush", simple_path=True, layer=10, datatype=0))  # Metal2
row_section_decoding.add(gdstk.FlexPath([(17.16,18.36),(17.51,18.36)], 0.2, ends="flush", simple_path=True, layer=10, datatype=0))  # Metal2
row_section_decoding.add(gdstk.FlexPath([(14.3,19.18),(17.185,19.18)], 0.2, ends="flush", simple_path=True, layer=10, datatype=0))  # Metal2
row_section_decoding.add(gdstk.FlexPath([(12.94,18.36),(13.58,18.36)], 0.2, ends="flush", simple_path=True, layer=10, datatype=0))  # Metal2
row_section_decoding.add(gdstk.FlexPath([(13.905,18.36),(13.905,18.36)], 0.2, ends="flush", simple_path=True, layer=10, datatype=0))  # Metal2
row_section_decoding.add(gdstk.FlexPath([(14.985,18.36),(14.63,18.36),(14.63,18.87)], 0.2, ends="flush", simple_path=True, layer=10, datatype=0))  # Metal2
row_section_decoding.add(gdstk.FlexPath([(14.97,17.95),(14.97,17.95)], 0.2, ends="flush", simple_path=True, layer=10, datatype=0))  # Metal2
row_section_decoding.add(gdstk.FlexPath([(15.485,17.95),(15.485,17.95)], 0.2, ends="flush", simple_path=True, layer=10, datatype=0))  # Metal2
row_section_decoding.add(gdstk.FlexPath([(15.865,18.36),(16.505,18.36)], 0.2, ends="flush", simple_path=True, layer=10, datatype=0))  # Metal2
row_section_decoding.add(gdstk.FlexPath([(15.6,18.36),(15.9,18.36)], 0.2, ends="flush", simple_path=True, layer=10, datatype=0))  # Metal2
row_section_decoding.add(gdstk.FlexPath([(16.35,19.59),(16.35,19.59)], 0.2, ends="flush", simple_path=True, layer=10, datatype=0))  # Metal2
row_section_decoding.add(gdstk.FlexPath([(17.13,19.18),(17.51,19.18)], 0.2, ends="flush", simple_path=True, layer=10, datatype=0))  # Metal2
row_section_decoding.add(gdstk.FlexPath([(10.265,14.7),(16.905,14.7)], 0.2, ends="flush", simple_path=True, layer=10, datatype=0))  # Metal2
row_section_decoding.add(gdstk.FlexPath([(16.705,13.47),(16.905,13.47)], 0.2, ends="flush", simple_path=True, layer=10, datatype=0))  # Metal2
row_section_decoding.add(gdstk.FlexPath([(16.705,14.29),(16.905,14.29)], 0.2, ends="flush", simple_path=True, layer=10, datatype=0))  # Metal2
row_section_decoding.add(gdstk.FlexPath([(12.12,13.88),(12.205,13.88)], 0.2, ends="flush", simple_path=True, layer=30, datatype=0))  # Metal3
row_section_decoding.add(gdstk.FlexPath([(12.205,17.31),(12.205,17.95)], 0.2, ends="flush", simple_path=True, layer=30, datatype=0))  # Metal3
row_section_decoding.add(gdstk.FlexPath([(12.205,17.31),(12.205,15.06)], 0.2, ends="flush", simple_path=True, layer=30, datatype=0))  # Metal3
row_section_decoding.add(gdstk.FlexPath([(14.9,17.95),(14.9,15.065)], 0.2, ends="flush", simple_path=True, layer=30, datatype=0))  # Metal3
row_section_decoding.add(gdstk.FlexPath([(14.71,15.165),(15,15.165)], 0.2, ends="flush", simple_path=True, layer=30, datatype=0))  # Metal3
row_section_decoding.add(gdstk.FlexPath([(16.255,17.47),(16.255,19.69)], 0.2, ends="flush", simple_path=True, layer=30, datatype=0))  # Metal3
row_section_decoding.add(gdstk.FlexPath([(16.255,17.47),(16.255,15.71)], 0.2, ends="flush", simple_path=True, layer=30, datatype=0))  # Metal3
row_section_decoding.add(gdstk.FlexPath([(16.255,15.71),(16.255,15.58),(15.895,15.58),(15.895,14.29),(15.795,14.29)], 0.2, ends="flush", simple_path=True, layer=30, datatype=0))  # Metal3
row_section_decoding.add(gdstk.FlexPath([(11.31,17.495),(11.31,14.7)], 0.2, ends="flush", simple_path=True, layer=30, datatype=0))  # Metal3
row_section_decoding.add(gdstk.Reference(via_13, (10.525,14.29), x_reflection=True))
row_section_decoding.add(gdstk.Reference(via_13, (10.825,13.47), x_reflection=True))
row_section_decoding.add(gdstk.Reference(nor_2in, (4.29,22.05), x_reflection=True))
row_section_decoding.add(gdstk.Reference(nor_2in, (-1.77,10.6)))
row_section_decoding.add(gdstk.Reference(inverter, (3.02,10.6)))
row_section_decoding.add(gdstk.Reference(nor_2in, (1.91,22.05), x_reflection=True))
row_section_decoding.add(gdstk.Reference(via_11, (12.205,17.95)))
row_section_decoding.add(gdstk.Reference(via_14, (10.12,17.95)))
row_section_decoding.add(gdstk.Reference(via_13, (13.905,18.36)))
row_section_decoding.add(gdstk.Reference(inverter, (6.7,22.05), x_reflection=True))
row_section_decoding.add(gdstk.Reference(nand_2in, (0.61,10.6)))
row_section_decoding.add(gdstk.Reference(via_15, (14.93,17.95)))
row_section_decoding.add(gdstk.Reference(via_12, (15,17.95)))
row_section_decoding.add(gdstk.Reference(inverter, (5.74,10.6)))
row_section_decoding.add(gdstk.Reference(via_12, (16.22,17.95)))
row_section_decoding.add(gdstk.Reference(via_12, (15.875,18.77)))
row_section_decoding.add(gdstk.Reference(via_15, (16.35,19.59)))
row_section_decoding.add(gdstk.Reference(via_17, (15.795,14.29)))
row_section_decoding.add(gdstk.Reference(via_11, (11.31,14.7)))
row_section_decoding.add(gdstk.Reference(inverter, (7.305,10.6)))
row_section_decoding.add(gdstk.Reference(inverter, (4.38,10.6)))
row_section_decoding.add(gdstk.Reference(nor_3in, (-1.77,22.05), x_reflection=True))
row_section_decoding.add(gdstk.Label('f1', (7.53,18.36), layer=10, texttype=25))
row_section_decoding.add(gdstk.Label('f5_n', (16.805,13.88), layer=10, texttype=25))
row_section_decoding.add(gdstk.Label('f3', (7.53,13.06), layer=10, texttype=25))
row_section_decoding.add(gdstk.Label('f4', (7.53,13.47), layer=10, texttype=25))
row_section_decoding.add(gdstk.Label('f5', (7.53,14.29), layer=10, texttype=25))
row_section_decoding.add(gdstk.Label('after_000111_n', (16.805,14.29), layer=10, texttype=25))
row_section_decoding.add(gdstk.Label('after_001111_n', (16.805,13.47), layer=10, texttype=25))
row_section_decoding.add(gdstk.Label('f1_n', (17.41,18.36), layer=10, texttype=25))
row_section_decoding.add(gdstk.Label('after_000011_n', (17.41,19.18), layer=10, texttype=25))
row_section_decoding.add(gdstk.Label('after_000011', (16.805,14.7), layer=10, texttype=25))
row_section_decoding.add(gdstk.Label('after_001111', (17.41,17.95), layer=10, texttype=25))
row_section_decoding.add(gdstk.Label('after_000111', (17.41,18.77), layer=10, texttype=25))
row_section_decoding.add(gdstk.Label('f2', (7.53,19.59), layer=10, texttype=25))
row_section_decoding.add(gdstk.Label('f3', (7.53,19.18), layer=10, texttype=25))

lib.write_gds('row_section_decoding.gds')
